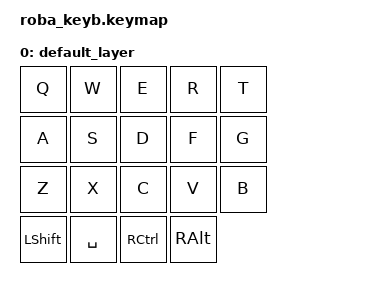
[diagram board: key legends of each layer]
#include <dt-bindings/zmk/keys.h>

/ {
    keymap {
        compatible = "zmk,keymap";
        default_layer {
            bindings = <
&kp Q      &kp W      &kp E      &kp R      &kp T
&kp A      &kp S      &kp D      &kp F      &kp G
&kp Z      &kp X      &kp C      &kp V      &kp B
&kp LSHFT &kp SPACE  &kp RCTRL &kp RALT
            >;
        };
    };
};

